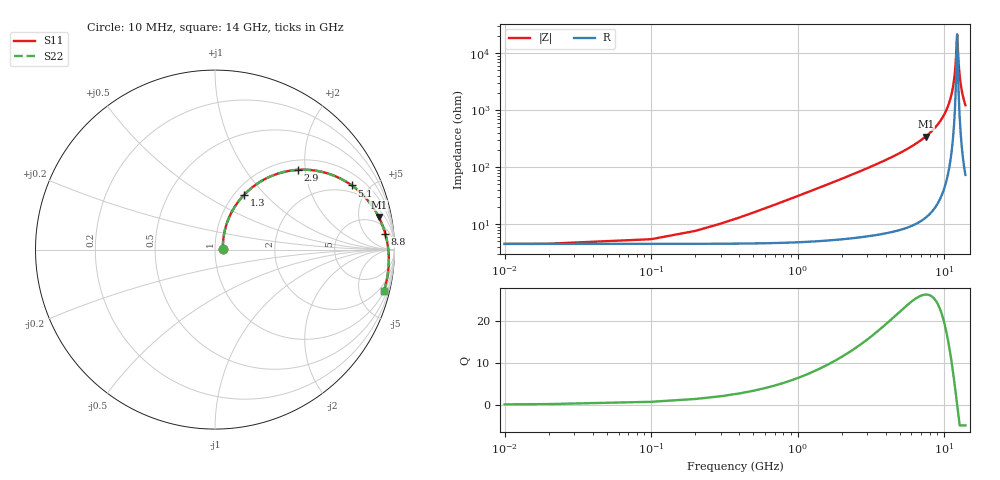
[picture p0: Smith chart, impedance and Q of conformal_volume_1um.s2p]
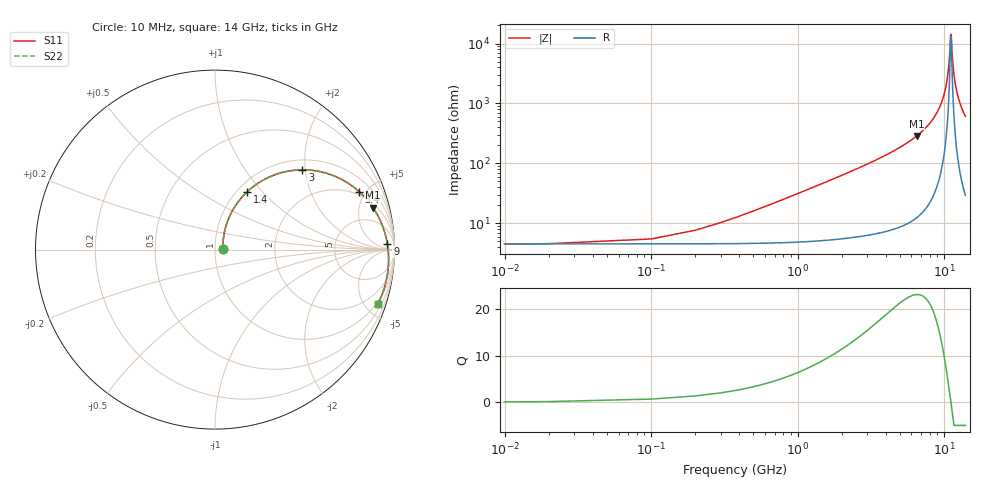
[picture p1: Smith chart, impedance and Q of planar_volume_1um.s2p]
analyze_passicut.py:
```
#!/usr/bin/env python
""""Passicut" workaround stackup (SG13G2_200um_passicut.xml) for the L6n2
inductor: instead of deriving explicit 3D conformal SiO2-sidewall geometry
(the conformal_volume combination in analyze_comparison.py, expensive: 2.86M
DOF / 42 GB / 1h6m at 1 um), the SiO2 dielectric block is simply shortened by
TopMetal2's own thickness (Thickness="=15.7303-3"), so SiO2 now ends 1.5 um
above the bottom of TopMetal2 with the 0.4 um Passivation on top - correct in
the "valleys" between traces, no conformal coating on the metal itself. A 1D
stackup change, no derived-layer booleans, no extra mesh-refinement geometry. filled_metals kept throughout
(surface impedance not tried here - see analyze_comparison.py's finding that
conductor model, not stackup, controls the Q/R match).

Compares against the two most relevant results from the main study
(results/snp/): conformal_volume_1um (previous best match, but the expensive
3D-conformal geometry) and planar_volume_1um (previous cheapest, but poor
SRF match) - both re-used from results/snp/, not re-simulated.

Reads de-embedded 2-port Touchstone files, computes differential L/Q/Rseries
(same convention as analyze_comparison.py: Zdiff = Z11-Z12-Z21+Z22), writes
one 3-panel (L/Q/R) comparison plot, a cost table entry, and an accuracy
table entry.
"""
import csv
import math
import os
import re
import subprocess
import sys

import numpy as np
import skrf as rf
import matplotlib
matplotlib.use("Agg")
import matplotlib.pyplot as plt

HERE = os.path.dirname(os.path.abspath(__file__))
SNP_DIR = os.path.join(HERE, "snp")
PLOT_DIR = os.path.join(HERE, "plots")
REPO_ROOT = os.path.abspath(os.path.join(HERE, "..", "..", "..", ".."))
PALACE_SUMMARY = os.path.join(REPO_ROOT, "scripts", "palace_summary.py")
PASSICUT_PALACE_MODEL_DIR = os.path.join(REPO_ROOT, "test_data", "filled_metals_inductor_L6n2", "palace_model")

SERIES = [
    ("measured", "Measured", None, "#333333", "-", 2.2),
    ("conformal_volume_1um", "Conformal + filled_metals, 1 um (best, §3)", None, "#c44e52", "-", 1.4),
    ("planar_volume_1um", "Planar + filled_metals, 1 um (cheapest baseline, §3)", None, "#4c72b0", ":", 1.4),
    ("passicut_volume_5um", "Passicut + filled_metals, 5 um (new)", None, "#55a868", "--", 1.8),
    ("passicut_volume_2um", "Passicut + filled_metals, 2 um (new)", None, "#dd8452", "-", 1.8),
]

PLOT_XLIM_GHZ = (0, 14)
R_YLIM_MAX_OHM = 12
L_EVAL_FREQS_GHZ = [0.1, 4.0, 8.0]  # stays clear of the SRF region (measured SRF ~11.07 GHz)
Q_EVAL_FREQS_GHZ = [1.0, 5.0, 9.0]


def load(fname):
    path = os.path.join(SNP_DIR, fname)
    return rf.Network(path) if os.path.isfile(path) else None


def diff_LQR(nw):
    z = nw.z
    z11, z12, z21, z22 = z[:, 0, 0], z[:, 0, 1], z[:, 1, 0], z[:, 1, 1]
    zdiff = z11 - z12 - z21 + z22
    freq = nw.frequency.f
    omega = freq * 2 * math.pi
    return freq, zdiff.imag / omega, zdiff.imag / zdiff.real, zdiff.real


def value_at_freq(freq, values, freq_hz, tol_hz=0.3e9):
    idx = int(np.argmin(np.abs(freq - freq_hz)))
    if abs(freq[idx] - freq_hz) > tol_hz:
        return None
    return float(values[idx])


def parse_cost(model_dir, pattern):
    result = subprocess.run([sys.executable, PALACE_SUMMARY, model_dir], capture_output=True, text=True)
    text = result.stdout
    blocks = re.split(r"----- (.*?) -----", text)[1:]
    cost = {}
    for i in range(0, len(blocks), 2):
        path, block = blocks[i], blocks[i + 1]
        m = re.search(pattern, path)
        if not m:
            continue
        dof = re.search(r"Degrees of freedom\s*:\s*([\d,]+)", block)
        elems = re.search(r"Mesh elements\s*:\s*([\d,]+)", block)
        time_m = re.search(r"Simulation time\s*:\s*(.+)", block)
        ram_m = re.search(r"Peak RAM\s*:\s*(.+)", block)
        cost[m.group(1)] = {
            "dof": dof.group(1).strip() if dof else "n/a",
            "elements": elems.group(1).strip() if elems else "n/a",
            "time": time_m.group(1).strip() if time_m else "n/a",
            "ram": ram_m.group(1).strip() if ram_m else "n/a",
        }
    return cost


def main():
    os.makedirs(PLOT_DIR, exist_ok=True)

    networks = {}
    fnames = {
        "measured": "measured.s2p",
        "conformal_volume_1um": "conformal_volume_1um.s2p",
        "planar_volume_1um": "planar_volume_1um.s2p",
        "passicut_volume_5um": "passicut_volume_5um.s2p",
        "passicut_volume_2um": "passicut_volume_2um.s2p",
    }
    for key, fname in fnames.items():
        nw = load(fname)
        if nw is None:
            print(f"WARNING: missing {fname}")
            continue
        networks[key] = diff_LQR(nw)

    # ---------------- comparison plot ----------------
    fig, (ax_l, ax_q, ax_r) = plt.subplots(3, 1, figsize=(7.5, 11), sharex=True)
    for key, label, _unused, color, style, lw in SERIES:
        if key not in networks:
            continue
        freq, L, Q, R = networks[key]
        freq_ghz = freq / 1e9
        ax_l.plot(freq_ghz, L * 1e9, color=color, linestyle=style, linewidth=lw, label=label)
        ax_q.plot(freq_ghz, Q, color=color, linestyle=style, linewidth=lw, label=label)
        ax_r.plot(freq_ghz, R, color=color, linestyle=style, linewidth=lw, label=label)

    ax_l.set_ylabel("Diff. inductance L (nH)")
    ax_l.set_title("L6n2: \"passicut\" workaround vs. previous best/cheapest")
    ax_l.grid(True, alpha=0.3)
    ax_l.legend(fontsize=7.5)
    ax_l.set_xlim(*PLOT_XLIM_GHZ)

    ax_q.set_ylabel("Diff. Q factor")
    ax_q.grid(True, alpha=0.3)
    ax_q.legend(fontsize=7.5)
    ax_q.set_xlim(*PLOT_XLIM_GHZ)
    ax_q.set_ylim(bottom=0)

    ax_r.set_ylabel("Diff. series resistance R (Ohm)")
    ax_r.set_xlabel("Frequency (GHz)")
    ax_r.grid(True, alpha=0.3)
    ax_r.legend(fontsize=7.5)
    ax_r.set_xlim(*PLOT_XLIM_GHZ)
    ax_r.set_ylim(0, R_YLIM_MAX_OHM)

    fig.tight_layout()
    out_path = os.path.join(PLOT_DIR, "LQR_passicut_comparison.png")
    fig.savefig(out_path, dpi=150)
    plt.close(fig)
    print(f"Wrote plot: {out_path}")

    # ---------------- cost table ----------------
    passicut_cost = parse_cost(PASSICUT_PALACE_MODEL_DIR, r"palace_L6n2_passicut_volume_(\d)um_data")
    cost_csv = os.path.join(HERE, "passicut_cost_table.csv")
    with open(cost_csv, "w", newline="", encoding="utf-8") as f:
        writer = csv.writer(f)
        writer.writerow(["Variant", "Mesh", "DOF", "Mesh elements", "Solve time", "Peak RAM"])
        for mesh in ("5", "2"):
            c = passicut_cost.get(mesh, {})
            writer.writerow([f"passicut + filled_metals", f"{mesh} um",
                              c.get("dof", "n/a"), c.get("elements", "n/a"),
                              c.get("time", "n/a"), c.get("ram", "n/a")])
    print(f"Wrote cost table: {cost_csv}")

    # ---------------- accuracy vs. measurement table ----------------
    # L at L_EVAL_FREQS_GHZ (interpolated - the measured file is log-spaced),
    # Q at Q_EVAL_FREQS_GHZ, one row per quantity/frequency.
    acc_csv = os.path.join(HERE, "passicut_accuracy_table.csv")
    fmt = lambda x, nd=4: f"{x:.{nd}f}" if x is not None else "n/a"
    with open(acc_csv, "w", newline="", encoding="utf-8") as f:
        writer = csv.writer(f)
        writer.writerow(["Variant", "Quantity", "Freq (GHz)", "Sim", "Meas", "Err (%)"])
        mfreq, mL, mQ, _ = networks["measured"]
        for key, label, *_ in SERIES:
            if key == "measured" or key not in networks:
                continue
            freq, L, Q, R = networks[key]
            for g in L_EVAL_FREQS_GHZ:
                L_val = float(np.interp(g * 1e9, freq, L))
                L_meas = float(np.interp(g * 1e9, mfreq, mL))
                L_err = 100.0 * (L_val - L_meas) / L_meas
                writer.writerow([label, "L (nH)", f"{g:g}", fmt(L_val * 1e9), fmt(L_meas * 1e9), fmt(L_err, 2)])
            for g in Q_EVAL_FREQS_GHZ:
                Q_val = value_at_freq(freq, Q, g * 1e9)
                Q_meas = value_at_freq(mfreq, mQ, g * 1e9)
                Q_err = 100.0 * (Q_val - Q_meas) / Q_meas if (Q_val is not None and Q_meas) else None
                writer.writerow([label, "Q", f"{g:g}", fmt(Q_val), fmt(Q_meas), fmt(Q_err, 2)])
    print(f"Wrote accuracy table: {acc_csv}")


if __name__ == "__main__":
    main()
```
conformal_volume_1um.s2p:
! Created with skrf 1.12.0 (http://scikit-rf.org).
# GHz S DB R 50.0
!freq dBS11 angS11 dBS21 angS21 dBS12 angS12 dBS22 angS22
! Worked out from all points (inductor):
!   142 points, 10 MHz to 14 GHz, reference 50 ohm
!   read as one part in series: L = 4.87 nH near 500 MHz
!   highest Q = 26.4 at 7.5 GHz (marker M1), where L = 7.3 nH
!   self-resonance near 12.2 GHz
!   S11 on the Smith chart (normalised r, x): 10 MHz: 1.09, +0.01; 1.3 GHz: 1.11, +0.77; 2.9 GHz: 1.21, +1.83; 5.1 GHz: 1.58, +3.87; 8.8 GHz: 9, +17; 14 GHz: 1.10, -8.19
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0.01  -27.28 3.4  -0.38 -0.2  -0.38 -0.2  -27.28 3.4
1.3  -9.19 62.0  -1.06 -21.8  -1.06 -21.8  -9.19 62.0
2.9  -3.85 43.9  -3.01 -42.9  -3.01 -42.9  -3.86 43.9
5.1  -1.50 25.2  -6.57 -62.6  -6.57 -62.6  -1.50 25.2
7.1  -0.72 13.3  -10.40 -74.7  -10.40 -74.7  -0.72 13.3
7.5  -0.63 11.3  -11.28 -76.7  -11.28 -76.7  -0.63 11.3
8.8  -0.42 5.3  -14.53 -82.4  -14.53 -82.4  -0.42 5.3
11.3  -0.25 -4.5  -26.18 -88.7  -26.18 -88.7  -0.25 -4.5
12.3  -0.24 -8.0  -46.80 -4.6  -46.80 -4.6  -0.24 -8.0
12.9  -0.25 -10.0  -30.79 71.1  -30.79 71.1  -0.25 -10.0
14  -0.28 -13.7  -22.10 73.1  -22.10 73.1  -0.28 -13.7
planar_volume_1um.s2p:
! Created with skrf 1.12.0 (http://scikit-rf.org).
# GHz S DB R 50.0
!freq dBS11 angS11 dBS21 angS21 dBS12 angS12 dBS22 angS22
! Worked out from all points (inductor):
!   142 points, 10 MHz to 14 GHz, reference 50 ohm
!   read as one part in series: L = 4.87 nH near 500 MHz
!   highest Q = 23.2 at 6.5 GHz (marker M1), where L = 6.98 nH
!   self-resonance near 11.1 GHz
!   S11 on the Smith chart (normalised r, x): 10 MHz: 1.09, +0.01; 1.4 GHz: 1.11, +0.83; 3 GHz: 1.23, +1.93; 5.4 GHz: 1.75, +4.51; 9 GHz: 30, +25; 14 GHz: 0.85, -6.07
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0.01  -27.28 3.4  -0.38 -0.2  -0.38 -0.2  -27.28 3.4
1.4  -8.62 60.8  -1.16 -23.4  -1.16 -23.4  -8.62 60.8
3  -3.62 42.4  -3.21 -44.3  -3.21 -44.3  -3.62 42.4
5.4  -1.25 21.9  -7.45 -65.7  -7.45 -65.7  -1.25 21.9
6.5  -0.81 14.9  -9.81 -72.8  -9.81 -72.8  -0.81 14.9
7.1  -0.64 11.4  -11.27 -76.2  -11.27 -76.2  -0.65 11.4
9  -0.35 1.9  -17.45 -84.7  -17.45 -84.7  -0.35 1.9
10.4  -0.27 -4.3  -26.91 -85.8  -26.91 -85.8  -0.27 -4.3
11.2  -0.26 -7.6  -43.31 15.2  -43.31 15.2  -0.26 -7.6
12  -0.27 -10.8  -26.33 71.9  -26.33 71.9  -0.27 -10.8
14  -0.38 -18.4  -16.24 69.1  -16.24 69.1  -0.38 -18.4
